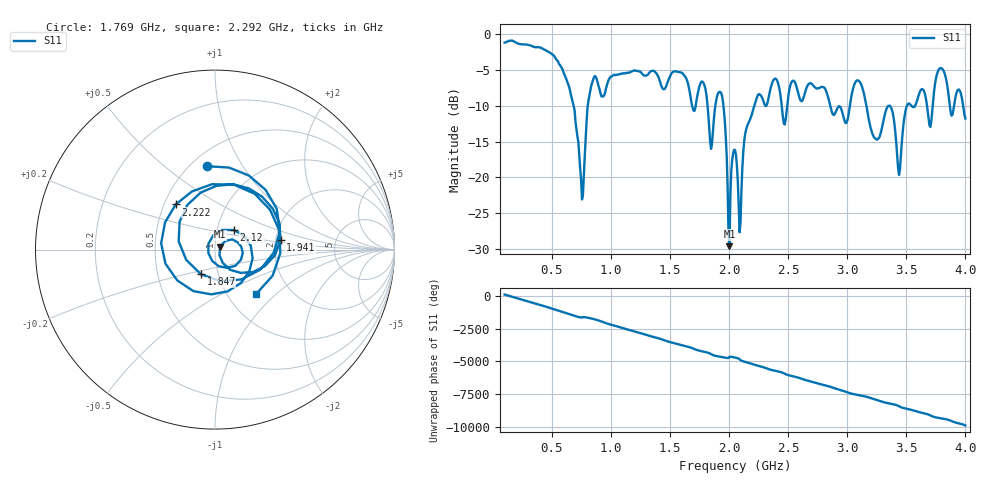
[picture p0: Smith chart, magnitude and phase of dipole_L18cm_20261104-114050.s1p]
! Dipole length 18 cm, measured 20261104-114050
# GHZ S RI R 50.000000000000
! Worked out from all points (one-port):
!   501 points, 100 MHz to 4 GHz, reference 50 ohm
!   lowest |S11| = -29.6 dB at 2.003 GHz (marker M1), VSWR 1.07, Z = 52.9 + j1.79 ohm
!   |S11| at or under -10 dB: 1.952 GHz to 2.213 GHz (261.5 MHz wide, 12.6 % of centre); 2.856 GHz to 3.022 GHz (166.3 MHz wide, 5.66 % of centre); 3.162 GHz to 3.357 GHz (194.1 MHz wide, 5.96 % of centre)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
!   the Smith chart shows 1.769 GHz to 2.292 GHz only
!   S11 on the Smith chart (normalised r, x): 1.769 GHz: 0.60, +0.71; 1.847 GHz: 0.82, -0.23; 1.941 GHz: 2.13, +0.27; 2.12 GHz: 1.20, +0.27; 2.222 GHz: 0.57, +0.32; 2.292 GHz: 1.35, -0.76
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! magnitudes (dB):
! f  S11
! 100 MHz  -1.2
! 591.4 MHz  -5.0
! 755.2 MHz  -23.1
! 848.8 MHz  -6.4
! 1.075 GHz  -5.6
! 1.566 GHz  -5.3
! 1.699 GHz  -10.7
! 1.769 GHz  -6.6
! 1.847 GHz  -16.0
! 1.941 GHz  -8.7
! 2.003 GHz  -29.6
! 2.058 GHz  -16.8
! 2.089 GHz  -27.7
! 2.12 GHz  -16.4
! 2.222 GHz  -9.5
! 2.292 GHz  -9.4
! 2.393 GHz  -6.2
! 2.471 GHz  -12.6
! 2.541 GHz  -6.5
! 3.025 GHz  -9.7
! 3.103 GHz  -6.6
! 3.251 GHz  -14.7
! 3.36 GHz  -10.0
! 3.438 GHz  -19.7
! 3.516 GHz  -9.7
! 3.704 GHz  -13.0
! 3.797 GHz  -4.8
! 4 GHz  -11.8
